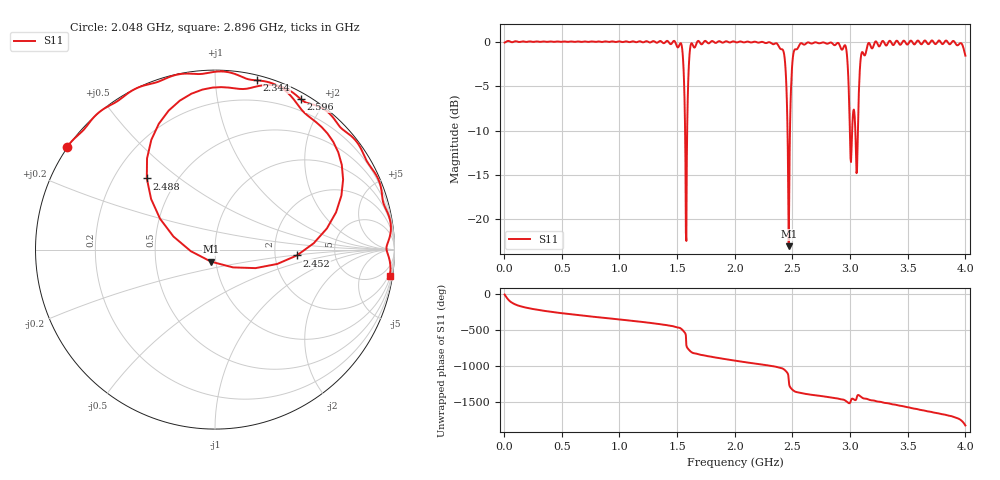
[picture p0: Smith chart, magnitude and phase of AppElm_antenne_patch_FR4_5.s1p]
! TOUCHSTONE file generated by CST MICROWAVE STUDIO
! Date and time: Tue Jun 14 12:12:46 2022
! Project name: AppElm_antenne_patch_FR4.cst
! Parameters = {L=45; W=58.5; e=0.035; h=1.6; lambda=0.190476; ls=120; w0=2.413; w1=0.847; ws=120; y0=18; y1=23.8}
! Header version: 2018
! Port assignment regex: !\s*Touchstone port\s*([0-9]+)\s*=\s*(CST MWS port|CST DS port)\s*([0-9]+|Zmin|Zmax)\s*\(\"(.*)\"\)(\s*mode\s*([0-9]+))?.*
! Touchstone port assignment:
! Touchstone port 1 = CST MWS port 1 ("")
# GHz S MA R 50
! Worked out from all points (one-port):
!   1000 points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, 4 MHz to 4 GHz, reference 50 ohm
!   lowest |S11| = -23.0 dB at 2.468 GHz (marker M1), VSWR 1.15, Z = 47.4 - j6.4 ohm
!   |S11| at or under -10 dB: 2.457 GHz to 2.479 GHz (21.56 MHz wide, 0.874 % of centre); 2.998 GHz to 3.018 GHz (20.08 MHz wide, 0.668 % of centre); 3.045 GHz to 3.067 GHz (22.21 MHz wide, 0.727 % of centre)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
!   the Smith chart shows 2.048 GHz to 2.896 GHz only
!   S11 on the Smith chart (normalised r, x): 2.048 GHz: -0.00, +0.31; 2.344 GHz: 0.04, +1.28; 2.452 GHz: 2.67, -0.22; 2.488 GHz: 0.34, +0.38; 2.596 GHz: 0.07, +1.72; 2.896 GHz: 1, -13
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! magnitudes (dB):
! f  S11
! 4 MHz  -0.1
! 504 MHz  0.0
! 1.004 GHz  0.0
! 1.504 GHz  -0.6
! 1.54 GHz  -0.5
! 1.564 GHz  -6.4
! 1.58 GHz  -22.4
! 1.592 GHz  -6.5
! 1.608 GHz  -1.4
! 1.628 GHz  -0.2
! 2.004 GHz  0.0
! 2.048 GHz  0.0
! 2.344 GHz  -0.3
! 2.424 GHz  -1.2
! 2.44 GHz  -3.0
! 2.452 GHz  -6.8
! 2.468 GHz  -23.0
! 2.488 GHz  -5.2
! 2.504 GHz  -1.8
! 2.596 GHz  -0.3
! 2.896 GHz  -0.1
! 2.964 GHz  -0.6
! 3.004 GHz  -13.1
! 3.056 GHz  -14.8
! 3.096 GHz  -1.5
! 3.156 GHz  -0.2
! 3.504 GHz  -0.3
! 4 GHz  -1.6
